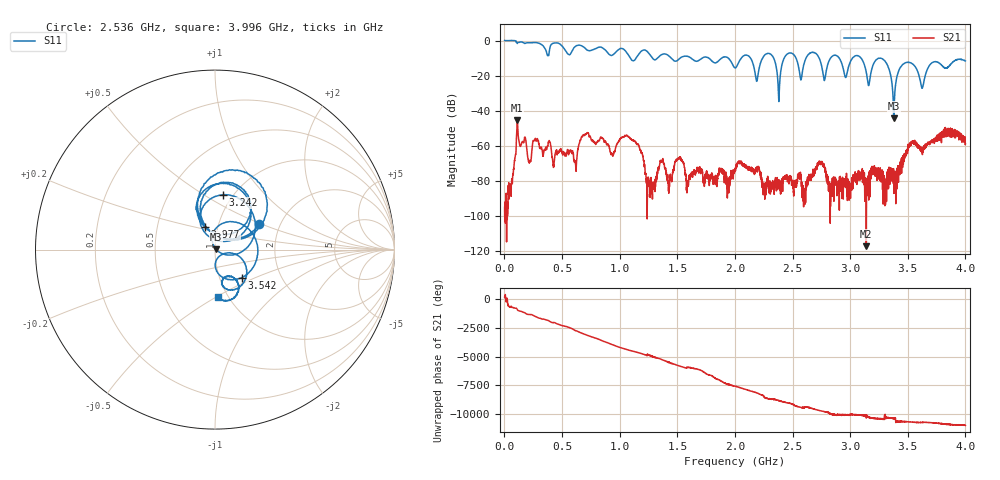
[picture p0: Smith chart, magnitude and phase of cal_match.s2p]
!Created with skrf (http://scikit-rf.org).
# GHz S RI R 50.0
!freq ReS11 ImS11 ReS21 ImS21 ReS12 ImS12 ReS22 ImS22
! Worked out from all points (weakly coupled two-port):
!   4000 points, 1 MHz to 4 GHz, reference 50 ohm
!   highest |S21| = -45.40 dB at 111 MHz (marker M1); lowest = -117.4 dB at 3.14 GHz (marker M2)
!   lowest |S11| = -44.4 dB at 3.378 GHz (marker M3), VSWR 1.01, Z = 50.6 + j0.21 ohm
!   |S11| at or under -10 dB: 1.942 GHz to 2.054 GHz (112.7 MHz wide, 5.64 % of centre); 2.905 GHz to 3.02 GHz (114.8 MHz wide, 3.88 % of centre); 3.095 GHz to end of sweep (the widest 3 of 12)
!   S12 and S22 are empty: the file has one direction only
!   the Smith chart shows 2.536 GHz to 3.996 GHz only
!   S11 on the Smith chart (normalised r, x): 2.536 GHz: 1.56, +0.48; 2.977 GHz: 0.87, +0.22; 3.242 GHz: 0.90, +0.60; 3.542 GHz: 1.27, -0.42; 3.996 GHz: 0.90, -0.51
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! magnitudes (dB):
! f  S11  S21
! 1 MHz  0.1  -95.3
! 62 MHz  0.0  -79.6
! 111 MHz  -1.7  -45.4
! 613 MHz  -3.5  -68.7
! 668 MHz  -2.9  -54.9
! 1.069 GHz  -7.6  -54.3
! 1.248 GHz  -6.9  -78.1
! 1.334 GHz  -9.7  -72.7
! 2.001 GHz  -15.7  -73.9
! 2.299 GHz  -7.4  -82.9
! 2.382 GHz  -33.8  -79.9
! 2.536 GHz  -11.0  -81.7
! 2.667 GHz  -6.8  -77.2
! 2.977 GHz  -17.3  -83.9
! 3.14 GHz  -18.1  -117.4
! 3.242 GHz  -10.2  -75.8
! 3.334 GHz  -15.7  -74.6
! 3.378 GHz  -44.4  -77.5
! 3.542 GHz  -13.3  -58.0
! 3.625 GHz  -27.2  -63.5
! 3.996 GHz  -11.5  -55.4
! 4 GHz  -11.6  -59.1
